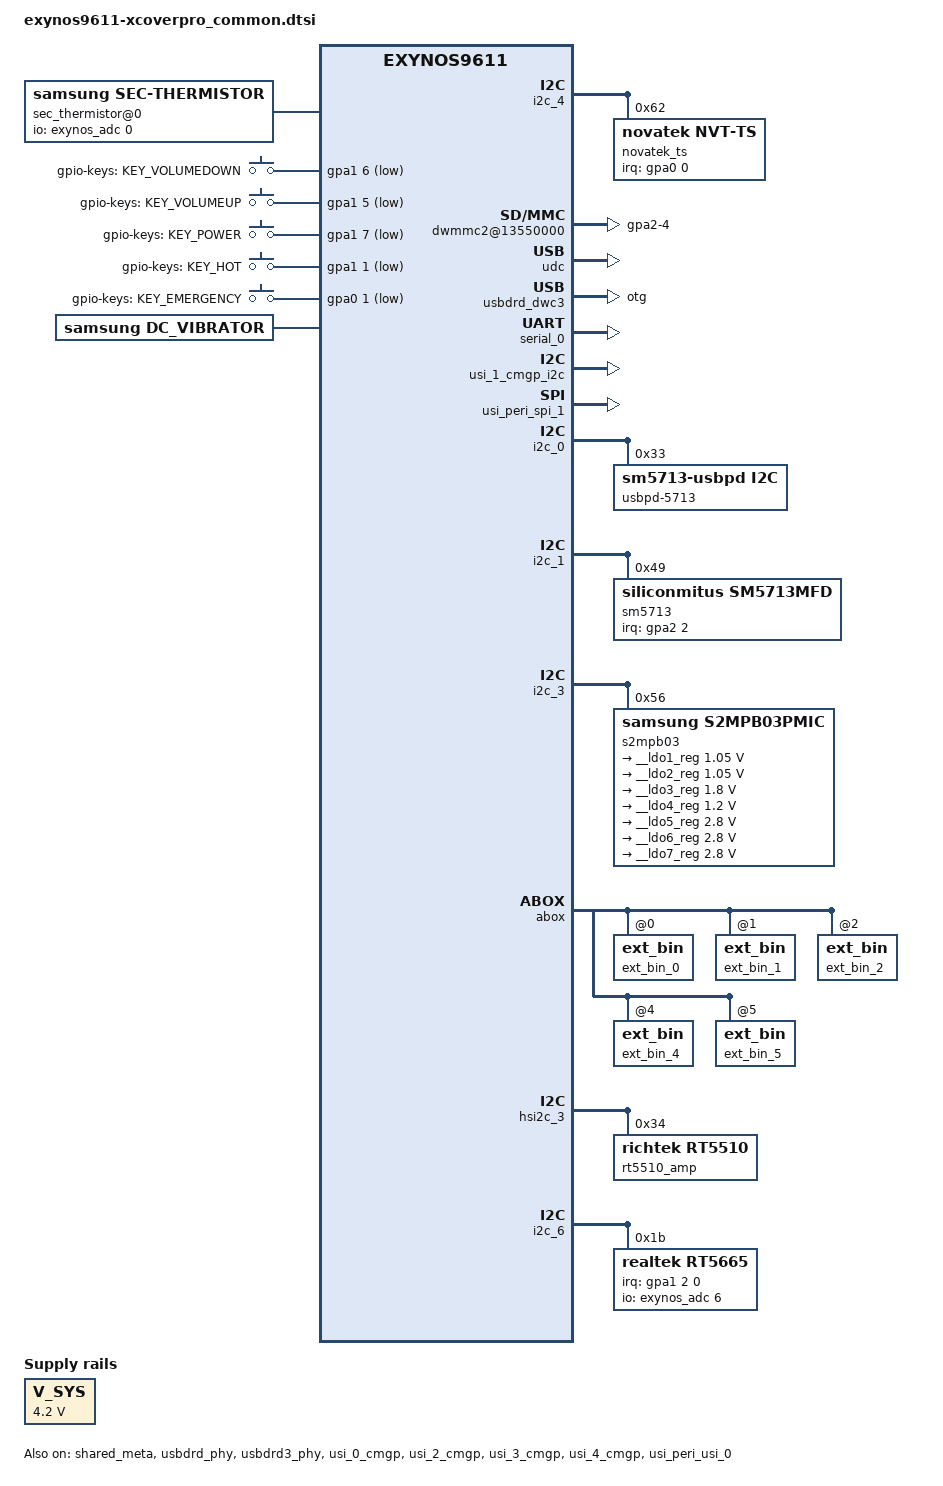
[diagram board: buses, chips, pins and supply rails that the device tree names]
/*
 * SAMSUNG EXYNOS9610 board device tree source
 *
 * Copyright (c) 2018 Samsung Electronics Co., Ltd.
 *		http://www.samsung.com
 *
 * This program is free software; you can redistribute it and/or modify
 * it under the terms of the GNU General Public License version 2 as
 * published by the Free Software Foundation.
 */

#include <dt-bindings/camera/fimc_is.h>
#include <dt-bindings/clock/exynos9610.h>
#include <dt-bindings/input/input.h>
#include "modem-s337ap-sipc-pdata.dtsi"
#include "display-lcd_xcoverpro_common.dtsi"
#include "exynos9611-xcoverpro_camera.dtsi"
#include "exynos9610-a50_mst_03.dtsi"
#include "exynos9610-inputbooster.dtsi"

/ {

	fragment@model {
		target-path = "/";
		__overlay__ {
			#address-cells = <2>;
			#size-cells = <1>;

			fixed-rate-clocks {
				oscclk {
					compatible = "samsung,exynos9610-oscclk";
					clock-frequency = <26000000>;
				};
			};

			muic {
				muic,dock_int_ap = <&gpa2 5 1>;
			};

			secgpio_dvs {
				compatible = "samsung,exynos9610-secgpio-dvs";
				status = "okay";
			};

			sec_abc {
				compatible = "samsung,sec_abc";
				status = "okay";

				gpu {
					gpu,label="GPU fault";
					gpu,threshold_count=<20>;
					gpu,threshold_time=<1200>;
				};
				aicl {
					aicl,label="battery aicl";
					aicl,threshold_count=<5>;
					aicl,threshold_time=<300>;
				};
			};

			abc_hub {
				compatible = "samsung,abc_hub";
				status = "okay";

				bootc {
					bootc,time_spec_user = <70000>; /* user binary user build */
					bootc,time_spec_eng = <90000>; /* user binary eng build */
					bootc,time_spec_fac = <60000>; /* factory binary */
				};
			};

			speedy@11a10000 {
				#address-cells = <1>;
				#size-cells = <0>;
				status = "okay";
				s2mpu09mfd@00 {
					compatible = "samsung,s2mpu09mfd";
					acpm-ipc-channel = <2>;
					i2c-speedy-address;
					s2mpu09,wakeup = "enabled";
					s2mpu09,irq-gpio = <&gpa2 0 0>;
					reg = <0x00>;
					interrupts = <2 0 0>;
					interrupt-parent = <&gpa2>;
					pinctrl-names = "default";
					pinctrl-0 = <&pmic_irq &pm_wrsti>;
					/* RTC: wtsr/smpl */
					wtsr_en = "enabled"; /* enable */
					smpl_en = "enabled"; /* enable */
					wtsr_timer_val = <3>;	/* 1000ms */
					smpl_timer_val = <4>;	/* 500ms */
					check_jigon = <0>; /* do not check jigon */
					/* RTC: If it's first boot, reset rtc to 1/1/2019 12:00:00(Tue) */
					init_time,sec = <0>;
					init_time,min = <0>;
					init_time,hour = <12>;
					init_time,mday = <1>;
					init_time,mon = <0>;
					init_time,year = <119>;
					init_time,wday = <2>;

					regulators {
						b1_reg: BUCK1 {
							regulator-name = "vdd_mif";
							regulator-min-microvolt = <500000>;
							regulator-max-microvolt = <1100000>;
							regulator-always-on;
							regulator-ramp-delay = <12000>;
							regulator-initial-mode = <2>;
						};

						b2_reg: BUCK2 {
							regulator-name = "vdd_cpucl1";
							regulator-min-microvolt = <500000>;
							regulator-max-microvolt = <1300000>;
							regulator-always-on;
							regulator-ramp-delay = <12000>;
							regulator-initial-mode = <1>;
						};

						b3_reg: BUCK3 {
							regulator-name = "vdd_cpucl0";
							regulator-min-microvolt = <500000>;
							regulator-max-microvolt = <1300000>;
							regulator-always-on;
							regulator-ramp-delay = <12000>;
							regulator-initial-mode = <1>;
						};

						b4_reg: BUCK4{
							regulator-name = "vdd_int";
							regulator-min-microvolt = <500000>;
							regulator-max-microvolt = <1100000>;
							regulator-always-on;
							regulator-ramp-delay = <12000>;
							regulator-initial-mode = <2>;
						};

						b5_reg: BUCK5 {
							regulator-name = "vdd_g3d";
							regulator-min-microvolt = <500000>;
							regulator-max-microvolt = <1200000>;
							regulator-always-on;
							regulator-ramp-delay = <12000>;
							regulator-initial-mode = <2>;
						};

						b6_reg: BUCK6 {
							regulator-name = "vdd_cam_vipx";
							regulator-min-microvolt = <500000>;
							regulator-max-microvolt = <1300000>;
							regulator-always-on;
							regulator-ramp-delay = <12000>;
							regulator-initial-mode = <2>;
						};

						b7_reg: BUCK7 {
							regulator-name = "vdd2_mem";
							regulator-min-microvolt = <500000>;
							regulator-max-microvolt = <1300000>;
							regulator-always-on;
							regulator-ramp-delay = <12000>;
							regulator-initial-mode = <3>;
						};

						b8_reg: BUCK8 {
							regulator-name = "vdd_lldo";
							regulator-min-microvolt = <1200000>;
							regulator-max-microvolt = <1500000>;
							regulator-always-on;
							regulator-ramp-delay = <12000>;
							regulator-initial-mode = <3>;
						};

						b9_reg: BUCK9 {
							regulator-name = "vdd_mldo";
							regulator-min-microvolt = <1800000>;
							regulator-max-microvolt = <2100000>;
							regulator-always-on;
							regulator-ramp-delay = <12000>;
							regulator-initial-mode = <3>;
						};

						l1_reg: LDO1 {
							regulator-name = "vdd_ldo1";
							regulator-min-microvolt = <700000>;
							regulator-max-microvolt = <1300000>;
							regulator-always-on;
							regulator-ramp-delay = <12000>;
							regulator-initial-mode = <3>;
						};

						l2_reg: LDO2 {
							regulator-name = "vqmmc";
							regulator-min-microvolt = <1800000>;
							regulator-max-microvolt = <3375000>;
							regulator-ramp-delay = <12000>;
						};

						l3_reg: LDO3 {
							regulator-name = "vdd_ldo3";
							regulator-min-microvolt = <800000>;
							regulator-max-microvolt = <1950000>;
							regulator-always-on;
							regulator-ramp-delay = <12000>;
							regulator-initial-mode = <3>;
						};

						l4_reg: LDO4 {
							regulator-name = "vdd_ldo4";
							regulator-min-microvolt = <500000>;
							regulator-max-microvolt = <1100000>;
							regulator-always-on;
							regulator-ramp-delay = <12000>;
							regulator-initial-mode = <1>;
						};

						l5_reg: LDO5 {
							regulator-name = "vdd_ldo5";
							regulator-min-microvolt = <800000>;
							regulator-max-microvolt = <1300000>;
							regulator-always-on;
							regulator-ramp-delay = <12000>;
							regulator-initial-mode = <1>;
						};

						l6_reg: LDO6 {
							regulator-name = "vdd_ldo6";
							regulator-min-microvolt = <800000>;
							regulator-max-microvolt = <1300000>;
							regulator-always-on;
							regulator-ramp-delay = <12000>;
							regulator-initial-mode = <1>;
						};

						l7_reg: LDO7 {
							regulator-name = "vdd_ldo7";
							regulator-min-microvolt = <800000>;
							regulator-max-microvolt = <1950000>;
							regulator-always-on;
							regulator-ramp-delay = <12000>;
							regulator-initial-mode = <1>;
						};

						l8_reg: LDO8 {
							regulator-name = "vdd_ldo8";
							regulator-min-microvolt = <500000>;
							regulator-max-microvolt = <1300000>;
							regulator-always-on;
							regulator-ramp-delay = <12000>;
							regulator-initial-mode = <1>;
						};

						l9_reg: LDO9 {
							regulator-name = "vdd_ldo9";
							regulator-min-microvolt = <500000>;
							regulator-max-microvolt = <1300000>;
							regulator-always-on;
							regulator-ramp-delay = <12000>;
							regulator-initial-mode = <1>;
						};

						l10_reg: LDO10 {
							regulator-name = "vdd_ldo10";
							regulator-min-microvolt = <500000>;
							regulator-max-microvolt = <1300000>;
							regulator-always-on;
							regulator-ramp-delay = <12000>;
							regulator-initial-mode = <1>;
						};

						l11_reg: LDO11 {
							regulator-name = "vdd_ldo11";
							regulator-min-microvolt = <500000>;
							regulator-max-microvolt = <1300000>;
							regulator-always-on;
							regulator-ramp-delay = <12000>;
							regulator-initial-mode = <3>;
						};

						l12_reg: LDO12 {
							regulator-name = "vdd_ldo12";
							regulator-min-microvolt = <800000>;
							regulator-max-microvolt = <1300000>;
							regulator-ramp-delay = <12000>;
							regulator-initial-mode = <3>;
						};

						l13_reg: LDO13 {
							regulator-name = "vdd_ldo13";
							regulator-min-microvolt = <800000>;
							regulator-max-microvolt = <1950000>;
							regulator-ramp-delay = <12000>;
							regulator-initial-mode = <3>;
						};

						l14_reg: LDO14 {
							regulator-name = "vdd_ldo14";
							regulator-min-microvolt = <1800000>;
							regulator-max-microvolt = <3375000>;
							regulator-ramp-delay = <12000>;
							regulator-initial-mode = <3>;
						};

						l33_reg: LDO33 {
							regulator-name = "vdd_ldo33";
							regulator-min-microvolt = <1800000>;
							regulator-max-microvolt = <1800000>;
							regulator-initial-mode = <3>;
						};

						l34_reg: LDO34 {
							regulator-name = "vdd_ldo34";
							regulator-min-microvolt = <1800000>;
							regulator-max-microvolt = <3375000>;
							regulator-ramp-delay = <12000>;
						};

						l35_reg: LDO35 {
							regulator-name = "vmmc";
							regulator-min-microvolt = <1800000>;
							regulator-max-microvolt = <3375000>;
							regulator-ramp-delay = <12000>;
						};

						l36_reg: LDO36 {
							regulator-name = "vdd_ldo36";
							regulator-min-microvolt = <500000>;
							regulator-max-microvolt = <1300000>;
							regulator-always-on;
							regulator-ramp-delay = <12000>;
							regulator-initial-mode = <1>;
						};

						l37_reg: LDO37 {
							regulator-name = "vdd_ldo37";
							regulator-min-microvolt = <2800000>;
							regulator-max-microvolt = <2800000>;
							regulator-ramp-delay = <12000>;
						};

						l38_reg: LDO38 {
							regulator-name = "VDD_BTP_3P3";
							regulator-min-microvolt = <3300000>;
							regulator-max-microvolt = <3300000>;
							regulator-ramp-delay = <12000>;
						};

						l39_reg: LDO39 {
							regulator-name = "vdd_ldo39";
							regulator-min-microvolt = <1800000>;
							regulator-max-microvolt = <1800000>;
							regulator-always-on;
							regulator-initial-mode = <3>;
						};

						l40_reg: LDO40 {
							regulator-name = "regulator_3v3";
							regulator-min-microvolt = <3300000>;
							regulator-max-microvolt = <3300000>;
							regulator-initial-mode = <3>;
							regulator-boot-on;
						};

						l41_reg: LDO41 {
							regulator-name = "vdd_ldo41";
							regulator-min-microvolt = <1800000>;
							regulator-max-microvolt = <3375000>;
							regulator-ramp-delay = <12000>;
						};

						l42_reg: LDO42 {
							regulator-name = "regulator_1v8";
							regulator-min-microvolt = <1800000>;
							regulator-max-microvolt = <1800000>;
							regulator-ramp-delay = <12000>;
							regulator-initial-mode = <3>;
							regulator-boot-on;
						};

						l43_reg: LDO43 {
							regulator-name = "vdd_ldo43";
							regulator-min-microvolt = <500000>;
							regulator-max-microvolt = <1300000>;
							regulator-always-on;
							regulator-ramp-delay = <12000>;
							regulator-initial-mode = <1>;
						};

						l44_reg: LDO44 {
							regulator-name = "vdd_ldo44";
							regulator-min-microvolt = <1200000>;
							regulator-max-microvolt = <1200000>;
							regulator-ramp-delay = <12000>;
						};
					};
				};
			};

			sec_thermistor@0 {
				compatible = "samsung,sec-thermistor";
				status = "okay";
				thermistor_name = "sec-ap-thermistor";
				id = <0>;

				adc_array = <275 324 407 544 637 720 868 1003 1161
					1339 1506 1789 1959 2175 2364 2563 2829 2984
					3115 3224 3336 3410>;
				temp_array = <900 850 800 700 650 600 550 500 450
					  400 350 300 250 200 150 100 50 0
					  (-50) (-100) (-150) (-200)>;

				io-channels = <&exynos_adc 0>;
				io-channel-names = "adc-ap-temp";
				io-channel-ranges;
			};

			exynos_rgt {
				compatible = "samsung,exynos-rgt";
			};

			mailbox_cp: mcu_ipc@11920000 {
				compatible = "samsung,exynos-shd-ipc-mailbox";
				reg = <0x0 0x11920000 0x180>;
				mcu,name = "mcu_ipc_cp";
				mcu,id = <0>;
				interrupts = <0 40 0 >;
				mcu,irq_affinity_mask = <3>;
			};

			mif_pdata {
				/* GPIOs for HW REV */
				/* XGPIO27-AP_REV0, XGPIO28-AP_REV1, XGPIO29-AP_REV2 */
				gpios = <&gpg3 3 0>, <&gpg3 4 0>, <&gpg3 5 0>;
				pinctrl-names = "default";
			};

			mailbox_gnss: mcu_ipc@11A00000 {
				compatible = "samsung,exynos-shd-ipc-mailbox";
				reg = <0x0 0x11A00000 0x180>;
				mcu,name = "mcu_ipc_gnss";
				mcu,id = <1>;
				interrupts = <0 43 0>; /* INTREQ__MAILBOX_GNSS2AP */
			};

			gnss_pdata {
				status = "okay";

				compatible = "samsung,gnss_shdmem_if";
				shmem,name = "KEPLER";
				shmem,device_node_name = "gnss_ipc";

				/* INTREQ__ALIVE_GNSS_ACTIVE, INTREQ__GNSS2AP_WDOG_RESET, INTREQ__GNSS2AP_WAKEUP, INTREQ__GNSS2AP */
				interrupts = <0 27 0>, <0 81 0>, <0 80 0>, <0 79 0>;
				interrupt-names = "ACTIVE", "WATCHDOG", "WAKEUP", "REQ_INIT";

				memory-region = <&gnss_reserved>;
				mbox_info = <&mailbox_gnss>;

				mbx,int_ap2gnss_bcmd = <0>;
				mbx,int_ap2gnss_req_fault_info = <1>;
				mbx,int_ap2gnss_ipc_msg = <2>;
				mbx,int_ap2gnss_ack_wake_set = <3>;
				mbx,int_ap2gnss_ack_wake_clr = <4>;

				mbx,irq_gnss2ap_bcmd = <0>;
				mbx,irq_gnss2ap_rsp_fault_info = <1>;
				mbx,irq_gnss2ap_ipc_msg = <2>;
				mbx,irq_gnss2ap_req_wake_clr = <4>;

				mbx,reg_bcmd_ctrl = <0>, <1>, <2>, <3>;

				reg_rx_ipc_msg = <1 5>;
				reg_tx_ipc_msg = <1 4>;
				reg_rx_head = <1 3>;
				reg_rx_tail = <1 2>;
				reg_tx_head = <1 1>;
				reg_tx_tail = <1 0>;
				fault_info = <1 0x200000 0x180000>;

				shmem,ipc_offset = <0x380000>;
				shmem,ipc_size = <0x80000>;
				shmem,ipc_reg_cnt = <32>;
			};

			gpio_keys {
				#address-cells = <1>;
				#size-cells = <0>;
				compatible = "gpio-keys";
				status = "okay";
				pinctrl-names = "default";
				pinctrl-0 = <&key_voldown &key_volup &key_power &key_hot &key_emergency>;
				button@1 {
					label = "gpio-keys: KEY_VOLUMEDOWN";
					linux,code = <114>;
					gpios = <&gpa1 6 0xf>;
				};
				button@2 {
					label = "gpio-keys: KEY_VOLUMEUP";
					linux,code = <115>;
					gpios = <&gpa1 5 0xf>;
				};
				button@3 {
					label = "gpio-keys: KEY_POWER";
					linux,code = <116>;
					gpios = <&gpa1 7 0xf>;
					gpio-key,wakeup = <1>;
				};
				button@4 {
					label = "gpio-keys: KEY_HOT";	/* PTT Key */
					linux,code = <KEY_HOT>;
					gpios = <&gpa1 1 0xf>;
					gpio-key,wakeup = <1>;
				};
				button@5 {
					label = "gpio-keys: KEY_EMERGENCY";	/* Top Key */
					linux,code = <KEY_EMERGENCY>;
					gpios = <&gpa0 1 0xf>;
					gpio-key,wakeup = <1>;
				};
			};

			i2c_4:i2c@13870000 {
				status = "okay";
				samsung,i2c-sda-delay = <100>;
				samsung,i2c-max-bus-freq = <400000>;
				samsung,reset-before-trans;
				compatible = "samsung,s3c2440-i2c-polling";
				#address-cells = <1>;
				#size-cells = <0>;
				novatek_ts: touchscreen@62 {
					compatible = "novatek,nvt-ts";
					reg = <0x62>;
					pinctrl-names = "default";
					pinctrl-0 = <&attn_irq>;
					novatek,firmware_name = "tsp_novatek/nt36672a_xcoverpro.fw";
					novatek,firmware_name_new_ic = "tsp_novatek/nt36672a_xcoverpro_4BF245.fw";
					novatek,irq-gpio = <&gpa0 0 0x2002>;
					novatek,resolution = <1080 2340>; /* x y */
					novatek,max_touch_num = <10>;
					novatek,area-size = <133 266 341>; /* indicator: 24dp navigator: 48dp edge: 60px dpi=320 */
					//novatek,ss_touch_num = <1>;
					novatek,mp-support-dt;
					check_fw_project_id;
					support_dual_fw;

					novatek-mp-criteria-7207@0 {
						#address-cells = <1>;
						#size-cells = <0>;
						compatible = "novatek-mp-criteria-7207";

						/* MP Criteria */
						open_test_spec = <0 3650>;
						short_test_spec = <11380 14000>;

						diff_test_frame = <50>;
						};

					novatek-mp-criteria-7229@0 {
						#address-cells = <1>;
						#size-cells = <0>;
						compatible = "novatek-mp-criteria-7229";

						/* MP Criteria */
						open_test_spec = <0 5120>;
						short_test_spec = <10000 14008>;

						diff_test_frame = <50>;
						};
					};
			};

			usb_notifier {
				compatible = "samsung,usb-notifier";
				udc = <&udc>;
				disable_host_wakelock;
			};

			V_SYS: fixedregulator@1 {
				compatible = "regulator-fixed";
				regulator-name = "V_SYS";
				regulator-min-microvolt = <4200000>;
				regulator-max-microvolt = <4200000>;
				regulator-boot-on;
				regulator-always-on;
			};

			dwmmc2@13550000 {
				status = "okay";
				num-slots = <1>;
				supports-4bit;
				supports-cmd23;
				supports-erase;
				supports-highspeed;
				sd-uhs-sdr50;
				sd-uhs-sdr104;
				card-detect-gpio;
				bypass-for-allpass;
				card-init-hwacg-ctrl;
				skip-init-mmc-scan;
				qos-dvfs-int-level = <533000>;
				qos-dvfs-mif-level = <676000>;
				fifo-depth = <0x40>;
				desc-size = <4>;
				card-detect-delay = <200>;
				data-timeout = <200>;
				hto-timeout = <80>;
				samsung,dw-mshc-ciu-div = <3>;
				clock-frequency = <800000000>;
				ssc-rate = <3>;
				samsung,dw-mshc-sdr-timing = <3 0 2 0>;
				samsung,dw-mshc-ddr-timing = <3 0 2 1>;
				samsung,dw-mshc-sdr50-timing = <3 0 4 2>;
				samsung,dw-mshc-sdr104-timing = <3 0 3 0>;

				num-ref-clks = <9>;
				ciu_clkin = <25 50 50 25 50 100 200 50 50>;

				/* Swapping clock drive strength */
				clk-drive-number = <4>;
				pinctrl-names = "default",
					"fast-slew-rate-1x",
					"fast-slew-rate-2x",
					"fast-slew-rate-3x",
					"fast-slew-rate-4x";
				pinctrl-0 = <&sd2_clk &sd2_cmd &sd2_bus1 &sd2_bus4 &dwmmc2_cd_ext_irq>;
				pinctrl-1 = <&sd2_clk_fast_slew_rate_1x>;
				pinctrl-2 = <&sd2_clk_fast_slew_rate_2x>;
				pinctrl-3 = <&sd2_clk_fast_slew_rate_3x>;
				pinctrl-4 = <&sd2_clk_fast_slew_rate_4x>;

				card-detect = <&gpa2 4 0xf>;
				sec-sd-slot-type = <1>; /* Hot plug slot */
				#address-cells = <1>;
				#size-cells = <0>;

				slot@0 {
					reg = <0>;
					bus-width = <4>;
					disable-wp;
				};
			};

			usb_hs_tune:usb_hs_tune {
				hs_tune_cnt = <12>;

				/* value = <device host> */
				hs_tune1 {
					tune_name = "tx_vref";
					tune_value = <0xf 0xa>;
				};

				hs_tune2 {
					tune_name = "tx_pre_emp";
					tune_value = <0x3 0x3>;
				};

				hs_tune3 {
					tune_name = "tx_pre_emp_plus";
					tune_value = <0x0 0x0>;
				};

				hs_tune4 {
					tune_name = "tx_res";
					tune_value = <0x3 0x3>;
				};

				hs_tune5 {
					tune_name = "tx_rise";
					tune_value = <0x3 0x3>;
				};

				hs_tune6 {
					tune_name = "tx_hsxv";
					tune_value = <0x3 0x3>;
				};

				hs_tune7 {
					tune_name = "tx_fsls";
					tune_value = <0x3 0x3>;
				};

				hs_tune8 {
					tune_name = "rx_sqrx";
					tune_value = <0x7 0x7>;
				};

				hs_tune9 {
					tune_name = "compdis";
					tune_value = <0x7 0x7>;
				};

				hs_tune10 {
					tune_name = "otg";
					tune_value = <0x2 0x2>;
				};

				hs_tune11 {
				/* true : 1, false: 0 */
				/* <enable_user_imp user_imp_value> */
					tune_name = "enable_user_imp";
					tune_value = <0x0 0x0>;
				};

				hs_tune12 {
				/* PHY clk : 1 , FREE clk : 0 */
					tune_name = "is_phyclock";
					tune_value = <0x1 0x1>;
				};
			};

			/* Secure RPMB */
			ufs-srpmb {
				compatible = "samsung,ufs-srpmb";
				interrupts = <0 460 0>;
			};

			usb3_ss_tune:usb3_ss_tune {
				ss_tune_cnt = <15>;

				/* value = <device host> */
				ss_tune1 {
					tune_name = "tx0_term_offset";
					tune_value = <0x0 0x0>;
				};

				ss_tune2 {
					tune_name = "pcs_tx_swing_full";
					tune_value = <0x7f 0x7f>;
				};

				ss_tune3 {
					tune_name = "pcs_tx_deemph_6db";
					tune_value = <0x1c 0x1c>;
				};

				ss_tune4 {
					tune_name = "pcs_tx_deemph_3p5db";
					tune_value = <0x1c 0x1c>;
				};

				ss_tune5 {
					tune_name = "tx_vboost_lvl_sstx";
					tune_value = <0x7 0x7>;
				};

				ss_tune6 {
					tune_name = "tx_vboost_lvl";
					tune_value = <0x4 0x4>;
				};

				ss_tune7 {
					tune_name = "los_level";
					tune_value = <0x9 0x9>;
				};

				ss_tune8 {
					tune_name = "los_bias";
					tune_value = <0x5 0x5>;
				};

				ss_tune9 {
					tune_name = "pcs_rx_los_mask_val";
					tune_value = <0x104 0x104>;
				};

				ss_tune10 {
					tune_name = "tx_eye_height_cntl_en";
					tune_value = <0x1 0x1>;
				};

				ss_tune11 {
					tune_name = "pipe_tx_deemph_update_delay";
					tune_value = <0x2 0x2>;
				};

				ss_tune12 {
					tune_name = "pcs_tx_swing_full_sstx";
					tune_value = <0x7f 0x7f>;
				};
				ss_tune13 {
					tune_name = "rx_eq_fix_val";
					tune_value = <0x2 0x2>;
				};

				ss_tune14 {
					tune_name = "rx_decode_mode";
					tune_value = <0x1 0x1>;
				};

				ss_tune15 {
					tune_name = "decrese_ss_tx_imp";
					tune_value = <0x1 0x1>;
				};
			};

			usb3_hs_tune:usb3_hs_tune {
				hs_tune_cnt = <10>;

				/* value = <device host> */
				hs_tune1 {
					tune_name = "tx_pre_emp";
					tune_value = <0x3 0x3>;
				};

				hs_tune2 {
					tune_name = "tx_pre_emp_plus";
					tune_value = <0x0 0x0>;
				};

				hs_tune3 {
					tune_name = "tx_vref";
					tune_value = <0x7 0x7>;
				};

				hs_tune4 {
					tune_name = "rx_sqrx";
					tune_value = <0x7 0x7>;
				};

				hs_tune5 {
					tune_name = "tx_rise";
					tune_value = <0x3 0x3>;
				};

				hs_tune6 {
					tune_name = "compdis";
					tune_value = <0x7 0x7>;
				};

				hs_tune7 {
					tune_name = "tx_hsxv";
					tune_value = <0x3 0x3>;
				};

				hs_tune8 {
					tune_name = "tx_fsls";
					tune_value = <0x3 0x3>;
				};

				hs_tune9 {
					tune_name = "tx_res";
					tune_value = <0x3 0x3>;
				};

				hs_tune10 {
					tune_name = "utim_clk";
					tune_value = <0x1 0x1>;
				};
			};

			nad_balancer {
				compatible = "samsung,sec_nad_balancer";
				status = "okay";

				nad_balancer,timeout = <400>;

				qos {
					cl0 {
						qos,label="LIT";
						qos,delay_time=<10>;
						qos,table_size=<13>;
						qos,table=<1742000 1638000 1534000 1456000 1326000 1222000 1118000 1053000 910000
								806000 702000 598000 403000>;
					};

					cl1 {
						qos,label="BIG";
						qos,delay_time=<10>;
						qos,table_size=<15>;
						qos,table=<2314000 2210000 2184000 2080000 1976000 1898000 1768000 1664000 1508000
								1456000 1352000 1248000 1144000 1040000 936000>;
					};

					mif {
						qos,label="MIF";
						qos,delay_time=<10>;
						qos,table_size=<10>;
						qos,table=<2093000 2002000 1794000 1539000 13352000 1014000 845000 676000 546000 419000>;
					};
				};

				sleep {
					/* per msec */
					sleep,suspend_threshold = <1000>;
					sleep,resume_threshold = <1000>;
				};
			};

			argos {
				compatible = "samsung,argos";
				#address-cells = <1>;
				/*  The device number should be assigned for each device, e.g. "boot_device@1" and "boot_device@2".
				 * Duplicated number is not allowed. Please refer the below example.
				 */

				/* Table Format
				 * threshold : throughput threshold(Mbps)
				 * big_min : Big Core's minimum frequency lock. 0 means not set,
				 * big_max : Big Core's maximum frequency lock. 0 means not set,
				 * lit_min : Little Core's minimum frequency lock. 0 means not set,
				 * lit_max : Little Core's maximum frequency lock. 0 means not set,
				 * mif : MIF frequency lock. 0 means not set,
				 * int : INT frequency lock. 0 means not set,
				 * task_affinity : "enable" - Set task affinity lock.
				 *	           "disable" - Not set or unlock,
				 *		   Task affinity should be predefined driver's code.
				 * irq_affinity : "enable" - Set irq affinity lock.
				 *                "disable" - Not set or unlock,
				 *		  IRQ affinity should be predefined driver's code.
				 * hmp_boot : "enable" - Increase hmp boosting count
				 *            "disable" - Decrease hmp boosting count
				 */

				boot_device@1 {
					net_boost,label="IPC";
					net_boost,node="rmnet0 rmnet1 rmnet2 rmnet3 rmnet4 rmnet5 rmnet6 rmnet7 umts_dm0";
					net_boost,table {
						level_0 {
							threshold = <50>; /* Mbps */
							lit_min = <910000>;
							mif = <845000>;
						};
						level_1 {
							threshold = <100>; /* Mbps */
							lit_min = <1326000>;
							mif = <1014000>;
						};
						level_2 {
							threshold = <200>; /* Mbps */
							lit_min = <1534000>;
							mif = <1352000>;
						};
						level_3 {
							threshold = <300>; /* Mbps */
							big_min = <1664000>;
							lit_min = <1456000>;
							mif = <1539000>;
						};
					};
				};

				boot_device@2 {
					net_boost,label="CLAT";
					net_boost,node="clat clat4 v4-rmnet0 v4-rmnet1 v4-rmnet2 v4-rmnet3 v4-rmnet4 v4-rmnet5 v4-rmnet6 v4-rmnet7";
					net_boost,table {
						level_0 {
							threshold = <100>; /* Mbps */
							big_min = <1040000>;
							mif = <1014000>;
						};
						level_1 {
							threshold = <150>; /* Mbps */
							big_min = <1248000>;
							mif = <1352000>;
						};
						level_2 {
							threshold = <200>; /* Mbps */
							big_min = <1456000>;
							mif = <2093000>;
						};
					};
				};

				boot_device@3 {
					net_boost,label="USB";
					net_boost,node="rndis0";
					net_boost,table {
						level_0 {
							threshold = <0>; /* Mbps */
							irq_affinity = "enable";
						};
					};
				};
			};

			dc_vibrator {
				compatible = "samsung,dc_vibrator";
				status = "okay";
				pinctrl-names = "default";
				pinctrl-0 = <&motor_en>;
				dc_vib,gpio_en = <&gpa2 1 0>;
				dc_vib,motor_type = "COINDC";
			};

			sm5713_rgb {
				rgb-name = "led_r", "led_g", "led_b", "led_w";

				normal_powermode_current = <10>;
				low_powermode_current = <10>;
				br_ratio_r = <50>;
				br_ratio_g = <10>;
				br_ratio_b = <30>;
				br_ratio_low_r = <50>;
				br_ratio_low_g = <10>;
				br_ratio_low_b = <30>;
			};

			dummy_audio_codec: audio_codec_dummy {
				status = "okay";
				compatible = "snd-soc-dummy";
			};

			dummy_audio_cpu: audio_cpu_dummy {
				compatible = "samsung,dummy-cpu";
				status = "okay";
			};

			sound {
				status = "okay";
				compatible = "samsung,exynos9610-audio";

				clock-names = "xclkout";
				clocks = <&clock OSC_AUD>;
				pinctrl-names = "default";
				pinctrl-0 = <&xclkout0>;

				samsung,routing =
					"HEADSETMIC", "MICBIAS1",
					"MAINMIC", "MICBIAS2",
					"SUBMIC", "MICBIAS3",
					"IN1P", "HEADSETMIC",
					"IN1N", "HEADSETMIC",
					"IN3P", "MAINMIC",
					"IN3N", "MAINMIC",
					"IN4P", "SUBMIC",
					"IN4N", "SUBMIC",
					"RECEIVER", "MONOOUT",
					"RECEIVER", "MONOOUT",
					"HEADPHONE", "HPOL",
					"HEADPHONE", "HPOR",
					"VOUTPUT", "ABOX UAIF0 Playback",
					"SPEAKER", "ABOX UAIF2 Playback",
					"VOUTPUTCALL", "ABOX SIFS0 Playback",
					"BLUETOOTH SPK", "ABOX SIFS2 Playback",
					"ABOX SPDY Capture", "FM IN",
					"ABOX SIFS2 Capture", "BLUETOOTH MIC",
					"ABOX SIFS0 Capture", "VINPUTCALL";

				samsung,codec = <&abox &abox_uaif_0 &abox_uaif_1 &abox_uaif_2
					&abox_uaif_4 &abox_dsif &abox_spdy>;
				samsung,prefix = "ABOX", "ABOX", "ABOX", "ABOX",
					"ABOX", "ABOX", "ABOX";
				samsung,aux = <&abox_effect &abox_bt>;

				rdma@0 {
					cpu {
						sound-dai = <&abox 0>;
					};
					platform {
						sound-dai = <&abox_rdma_0>;
					};
					codec {
						sound-dai = <&dummy_audio_codec>;
					};
				};
				rdma@1 {
					cpu {
						sound-dai = <&abox 1>;
					};
					platform {
						sound-dai = <&abox_rdma_1>;
					};
					codec {
						sound-dai = <&dummy_audio_codec>;
					};
				};
				rdma@2 {
					cpu {
						sound-dai = <&abox 2>;
					};
					platform {
						sound-dai = <&abox_rdma_2>;
					};
					codec {
						sound-dai = <&dummy_audio_codec>;
					};
				};
				rdma@3 {
					cpu {
						sound-dai = <&abox 3>;
					};
					platform {
						sound-dai = <&abox_rdma_3>;
					};
					codec {
						sound-dai = <&dummy_audio_codec>;
					};
				};
				rdma@4 {
					cpu {
						sound-dai = <&abox 4>;
					};
					platform {
						sound-dai = <&abox_rdma_4>;
					};
					codec {
						sound-dai = <&dummy_audio_codec>;
					};
				};
				rdma@5 {
					cpu {
						sound-dai = <&abox 5>;
					};
					platform {
						sound-dai = <&abox_rdma_5>;
					};
					codec {
						sound-dai = <&dummy_audio_codec>;
					};
				};
				rdma@6 {
					cpu {
						sound-dai = <&abox 6>;
					};
					platform {
						sound-dai = <&abox_rdma_6>;
					};
					codec {
						sound-dai = <&dummy_audio_codec>;
					};
				};
				rdma@7 {
					cpu {
						sound-dai = <&abox 7>;
					};
					platform {
						sound-dai = <&abox_rdma_7>;
					};
					codec {
						sound-dai = <&dummy_audio_codec>;
					};
				};
				wdma@0 {
					cpu {
						sound-dai = <&abox 8>;
					};
					platform {
						sound-dai = <&abox_wdma_0>;
					};
					codec {
						sound-dai = <&dummy_audio_codec>;
					};
				};
				wdma@1 {
					cpu {
						sound-dai = <&abox 9>;
					};
					platform {
						sound-dai = <&abox_wdma_1>;
					};
					codec {
						sound-dai = <&dummy_audio_codec>;
					};
				};
				wdma@2 {
					cpu {
						sound-dai = <&abox 10>;
					};
					platform {
						sound-dai = <&abox_wdma_2>;
					};
					codec {
						sound-dai = <&dummy_audio_codec>;
					};
				};
				wdma@3 {
					cpu {
						sound-dai = <&abox 11>;
					};
					platform {
						sound-dai = <&abox_wdma_3>;
					};
					codec {
						sound-dai = <&dummy_audio_codec>;
					};
				};
				wdma@4 {
					cpu {
						sound-dai = <&abox 12>;
					};
					platform {
						sound-dai = <&abox_wdma_4>;
					};
					codec {
						sound-dai = <&dummy_audio_codec>;
					};
				};
		/** ToDo: enable dp_audio link after enabling DP Audio
		 *		dp_audio@0 {
		 *			cpu {
		 *				sound-dai = <&dummy_audio_cpu>;
		 *			};
		 *			codec {
		 *				sound-dai = <&dummy_audio_codec>;
		 *			};
		 *		};
		 */
				uaif@0 {
					format = "i2s";
					cpu {
						sound-dai = <&abox_uaif_0>;
					};
					codec {
						sound-dai = <&rt5665 0>;
					};
				};
				uaif@1 {
					format = "i2s";
					cpu {
						sound-dai = <&abox_uaif_1>;
					};
					codec {
						sound-dai = <&dummy_audio_codec>;
					};
				};
				uaif@2 {
					format = "i2s";
					cpu {
						sound-dai = <&abox_uaif_2>;
					};
					platform {
						sound-dai = <&abox_synchronized_ipc 0>;
					};
					codec {
						sound-dai = <&rt5510_amp 0>;
					};
				};
				uaif@4 {
					format = "i2s";
					bitclock-master;
					frame-master;
					cpu {
						sound-dai = <&abox_uaif_4>;
					};
					codec {
						sound-dai = <&dummy_audio_codec>;
					};
				};
				dsif@0 {
					format = "pdm";
					cpu {
						sound-dai = <&abox_dsif>;
					};
					codec {
						sound-dai = <&dummy_audio_codec>;
					};
				};
				spdy@0 {
					cpu {
						sound-dai = <&abox_spdy>;
					};
					codec {
						sound-dai = <&dummy_audio_codec>;
					};
				};
				sifs0@0 {
					cpu {
						sound-dai = <&abox 13>;
					};
					codec {
						sound-dai = <&dummy_audio_codec>;
					};
				};
				sifs1@0 {
					cpu {
						sound-dai = <&abox 14>;
					};
					codec {
						sound-dai = <&dummy_audio_codec>;
					};
				};
				sifs2@0 {
					cpu {
						sound-dai = <&abox 15>;
					};
					codec {
						sound-dai = <&dummy_audio_codec>;
					};
				};
			};
		};
	};
};

&shared_meta {
	status = "okay";
	parts = "vbmeta,boot,system,vendor,product,odm,prism,optics,vbmeta_samsung,recovery,dtbo,keystorage";
};

&android_q_fstab {
	status = "disabled";
};

&udc {
	status = "okay";
	dwc3 {
		dr_mode = "otg";
		maximum-speed = "high-speed";
	};
};

&usbdrd_dwc3 {
	dr_mode = "otg";
	maximum-speed = "high-speed";

	/* usb_audio_offloading = <1>; */
	/* abox = <&abox>; */

	ldo-names = "vdd_ldo12", "vdd_ldo13", "vdd_ldo14";
};

&usbdrd_phy {
	status = "okay";
	usb3phy-isolation = <1>;
	hs_tune_param = <&usb_hs_tune>;
};

&usbdrd3_phy {
	status = "okay";
	usb3phy-isolation = <1>;
	hs_tune_param = <&usb3_hs_tune>;
	ss_tune_param = <&usb3_ss_tune>;
};

&serial_0 {
	samsung,uart-logging;
	status = "okay";
};

&pinctrl_0 {
	key_emergency: key-emergency {
		samsung,pins = "gpa0-1";
		samsung,pin-function = <0xf>;
		samsung,pin-pud = <0>;
		samsung,pin-drv = <0>;
	};

	key_hot: key-hot {
		samsung,pins = "gpa1-1";
		samsung,pin-function = <0xf>;
		samsung,pin-pud = <0>;
		samsung,pin-drv = <0>;
	};
		
	key_voldown: key-voldown {
		samsung,pins = "gpa1-6";
		samsung,pin-function = <0xf>;
		samsung,pin-pud = <0>;
		samsung,pin-drv = <0>;
	};

	key_volup: key-volup {
		samsung,pins = "gpa1-5";
		samsung,pin-function = <0xf>;
		samsung,pin-pud = <0>;
		samsung,pin-drv = <0>;
	};

	key_power: key-power {
		samsung,pins = "gpa1-7";
		samsung,pin-function = <0xf>;
		samsung,pin-pud = <0>;
		samsung,pin-drv = <0>;
	};

	attn_irq: attn-irq {
		samsung,pins = "gpa0-0";
		samsung,pin-function = <0xf>;
		samsung,pin-pud = <0>;
		samsung,pin-drv = <0>;
	};

	attn_input: attn-input {
		samsung,pins = "gpa0-0";
		samsung,pin-function = <0>;
		samsung,pin-pud = <1>;
	};

	if_pmic_irq: if-pmic-irq {
		samsung,pins = "gpa2-2";
		samsung,pin-function = <0>;
		samsung,pin-pud = <0>;
		samsung,pin-drv = <0>;
	};

	pmic_irq: pmic-irq {
		samsung,pins = "gpa2-0";
		samsung,pin-pud = <3>;
		samsung,pin-drv = <3>;
	};

	motor_en: motor-en {
		samsung,pins = "gpa2-1";
		samsung,pin-function = <1>;
		samsung,pin-val = <0>;
		samsung,pin-pud = <0>;
		samsung,pin-con-pdn = <3>;
		samsung,pin-pud-pdn = <0>;
	};

	codec_irq: codec_irq {
		samsung,pins ="gpa1-2";
		samsung,pin-function = <0xf>;
		samsung,pin-pud = <0>;
	};

	dwmmc2_cd_ext_irq: dwmmc2_cd_ext_irq {
		samsung,pins = "gpa2-4";
		samsung,pin-function = <0xf>;
		samsung,pin-pud = <0>;
		samsung,pin-drv = <3>;
	};

	usbpd_irq: usbpd-irq {
		samsung,pins = "gpa2-3";
		samsung,pin-function = <0x0f>;
		samsung,pin-pud = <0>;
		samsung,pin-drv = <0>;
	};

	dock_int_ap: dock-int-ap {
		samsung,pins = "gpa2-5";
		samsung,pin-function = <0xf>;
		samsung,pin-pud = <0>;
		samsung,pin-drv = <0>;
	};
};

&pinctrl_4 {
/*	vdd_on: vdd-on {
		samsung,pins = "gpg3-1";
		samsung,pin-function = <1>;
		samsung,pin-val = <1>;
		samsung,pin-pud = <0>;
	};

	vdd_off: vdd-off {
		samsung,pins = "gpg3-1";
		samsung,pin-function = <0>;
		samsung,pin-val = <0>;
		samsung,pin-pud = <1>;
	};
*/
	vbus_discharging: vbus-discharging {
		samsung,pins = "gpg0-4";
		samsung,pin-function = <1>;
		samsung,pin-pud = <0>;
		samsung,pin-drv = <0>;
		samsung,pin-val	= <0>;
		samsung,pin-con-pdn = <3>;
		samsung,pin-pud-pdn = <0>;
	};

	/* Warm reset information from AP */
	pm_wrsti: pm-wrsti {
		samsung,pins = "gpg0-7";
		samsung,pin-con-pdn = <3>;
	};
};

&fmp_0 {
	 exynos,block-type = "sda";
	 exynos,fips-block_offset = <5>;
};

/* USI_0_SHUB */
&usi_0_shub {
	status = "disabled";
};

/* USI_SHUB_0_I2C */
&usi_0_shub_i2c {
	/*	usi_v2_mode = "i2c" or "spi" or "uart"	*/
	status = "disabled";
};

/* USI_0_CMGP */
&usi_0_cmgp {
	/*	usi_v2_mode = "i2c" or "spi" or "uart"	*/
	usi_v2_mode = "spi";
	status = "okay";
};

/* USI_0_CMGP_I2C */
&usi_0_cmgp_i2c {
	/*	usi_v2_mode = "i2c" or "spi" or "uart"	*/
	status = "disabled";
};

/* USI_1_CMGP */
&usi_1_cmgp {
	/*	usi_v2_mode = "i2c" or "spi" or "uart"	*/
	status = "disabled";
};

/* USI_1_CMGP_I2C */
&usi_1_cmgp_i2c {
	usi_v2_mode = "i2c";
	status = "okay";
};

/* USI_2_CMGP */
&usi_2_cmgp {
	/*	usi_v2_mode = "i2c" or "spi" or "uart"	*/
	usi_v2_mode = "i2c";
	status = "okay";
};

/* USI_2_CMGP_I2C */
&usi_2_cmgp_i2c {
	/*	usi_v2_mode = "i2c" or "spi" or "uart"	*/
	status = "disabled";
};

/* USI_3_CMGP */
&usi_3_cmgp {
	usi_v2_mode = "i2c";
	status = "okay";
};

/* USI_3_CMGP_I2C */
&usi_3_cmgp_i2c {
	/*	usi_v2_mode = "i2c" or "spi" or "uart"	*/
	status = "disabled";
};

/* USI_4_CMGP */
&usi_4_cmgp {
	usi_v2_mode = "spi";
	status = "okay";
};

/* USI_4_CMGP_I2C */
&usi_4_cmgp_i2c {
	status = "disabled";
};

/* USI_PERI_USI_0 */
&usi_peri_usi_0 {
	usi_v2_mode = "i2c";
	status = "okay";
};

/* USI_PERI_USI_0_I2C */
&usi_peri_usi_0_i2c {
	/*	usi_v2_mode = "i2c" or "spi" or "uart"	*/
	status = "disabled";
};

/* USI_PERI_SPI_1 */
&usi_peri_spi_1 {
	usi_v2_mode = "spi";
	status = "okay";
};

&chosen {
	bootargs_ext = "root=/dev/ram0 androidboot.boot_devices=13520000.ufs";
};

&i2c_0 {
	i2c-gpio,delay-us = <5>;
	status = "okay";
	samsung,glitch-filter;
	samsung,fix-doxfer-return;
	#address-cells = <1>;
	#size-cells = <0>;
	samsung,i2c-max-bus-freq = <400000>;
	usbpd-5713@33 {
		compatible = "sm5713-usbpd,i2c";
		reg = <0x33>;
		pinctrl-names = "default";
		/* vconn-en; */
		support_pd_role_swap;
		pinctrl-0 = <&usbpd_irq &vbus_discharging>;
		usbpd,usbpd_int = <&gpa2 3 0>;
		usbpd,vbus_discharging = <&gpg0 4 0>;
	};
};

&i2c_1 {
	#address-cells = <1>;
	#size-cells = <0>;
	status = "okay";
	samsung,glitch-filter;
	samsung,fix-doxfer-return;
	samsung,i2c-max-bus-freq = <400000>;
	sm5713@49{
		compatible = "siliconmitus,sm5713mfd";
		reg = <0x49>;
		pinctrl-names = "default";
		pinctrl-0 = <&chg_en &if_pmic_irq &dock_int_ap>;
		sm5713,irq-gpio = <&gpa2 2 0>;
		sm5713,wakeup;
	};
};

&i2c_3 {
	status = "okay";
	#address-cells = <1>;
	#size-cells = <0>;
	s2mpb03@56 {
		compatible = "samsung,s2mpb03pmic";
		reg = <0x56>;

		s2mpb03,wakeup;

		regulators {
			__ldo1_reg: s2mpb03-ldo1 {
				regulator-name = "CAM_VLDO1";
				regulator-min-microvolt = <1050000>;
				regulator-max-microvolt = <1050000>;
			};

			__ldo2_reg: s2mpb03-ldo2 {
				regulator-name = "CAM_VLDO2";
				regulator-min-microvolt = <1050000>;
				regulator-max-microvolt = <1050000>;
			};

			__ldo3_reg: s2mpb03-ldo3 {
				regulator-name = "CAM_VLDO3";
				regulator-min-microvolt = <1800000>;
				regulator-max-microvolt = <1800000>;
			};

			__ldo4_reg: s2mpb03-ldo4 {
				regulator-name = "CAM_VLDO4";
				regulator-min-microvolt = <1200000>;
				regulator-max-microvolt = <1200000>;
			};

			__ldo5_reg: s2mpb03-ldo5 {
				regulator-name = "CAM_VLDO5";
				regulator-min-microvolt = <2800000>;
				regulator-max-microvolt = <2800000>;
			};

			__ldo6_reg: s2mpb03-ldo6 {
				regulator-name = "CAM_VLDO6";
				regulator-min-microvolt = <2800000>;
				regulator-max-microvolt = <2800000>;
			};

			__ldo7_reg: s2mpb03-ldo7 {
				regulator-name = "CAM_VLDO7";
				regulator-min-microvolt = <2800000>;
				regulator-max-microvolt = <2800000>;
			};
		};
	};
};

&reserved_memory {
	secure_camera {
		compatible = "exynos9820-ion";
		ion,heapname = "secure_camera_heap";
		reg = <0x0 0xE1900000 0x2000000>;
		ion,secure;
		ion,protection_id = <11>;
		ion,alignment = <0x10000>;
	};
	camera_contig
	{
		compatible = "exynos9820-ion";
		ion,heapname = "camera_heap";
		reg = <0x0 0xDB900000 0x700000>;
		ion,secure;
		ion,protection_id = <10>;
	};
};

&abox {
	/delete-node/ ext_bin@0;
	ext_bin_0: ext_bin@0 {
		status = "okay";
		samsung,name = "rtdsp.bin";
		samsung,area = <1>; /* 0:SRAM, 1:DRAM, 2:VSS */
		samsung,offset = <0x502000>;
	};
	/delete-node/ ext_bin@1;
	ext_bin_1: ext_bin@1 {
		status = "okay";
		samsung,name = "AP_AUDIO_SLSI.bin";
		samsung,area = <1>;
		samsung,offset = <0x7F0000>;
	};
	/delete-node/ ext_bin@2;
	ext_bin_2: ext_bin@2 {
		status = "okay";
		samsung,name = "APBargeIn_AUDIO_SLSI.bin";
		samsung,area = <1>;
		samsung,offset = <0x7EC000>;
	};
	/delete-node/ ext_bin@4;
	ext_bin_4: ext_bin@4 {
		status = "okay";
		samsung,name = "rtdsp_param.bin";
		samsung,area = <1>;
		samsung,offset = <0x582000>;
	};
	/delete-node/ ext_bin@5;
	ext_bin_5: ext_bin@5 {
		status = "okay";
		samsung,name = "APBiBF_AUDIO_SLSI.bin";
		samsung,area = <1>;
		samsung,offset = <0x7EF000>;
	};
};

&hsi2c_3 {
	#address-cells = <1>;
	#size-cells = <0>;
	status = "okay";

	rt5510_amp: rt5510@34 {
		status = "okay";
		compatible = "richtek,rt5510";
		#sound-dai-cells = <1>;
		reg = <0x34>;
	};
};

&i2c_6 {
	#address-cells = <1>;
	#size-cells = <0>;
	status = "okay";
	rt5665: rt5665@1b {
		compatible = "realtek,rt5665";
		reg = <0x1b>;
		pinctrl-names = "default";
		pinctrl-0 = <&codec_irq>;
		interrupt-parent = <&gpa1>;
		interrupts = <2 0 0>;
		#sound-dai-cells = <1>;
		realtek,in1-differential;
		realtek,in3-differential;
		realtek,in4-differential;
		realtek,jd-src = <2>;
		realtek,dmic2-data-pin =<2>;
		realtek,sar-hs-type = <700>;
		realtek,sar-pb-vth0 = <95>;
		realtek,sar-pb-vth1 = <139>;
		realtek,sar-pb-vth2 = <246>;
		realtek,sar-pb-vth3 = <580>;
		imp_table = <
			/*min max gain bias*/
			0x0000 0x000d 3 6 // 8 ohm
			0x000e 0x0019 1 6 // 16 ohm
			0x001a 0x0035 0 6 // 32 ohm
			0x0036 0x0067 0 6 // 64 ohm
			0x0068 0xffff 0 6 // > 100 ohm
		>;

		/* not use offset-comp due to G715FN AMP on/off noise
		realtek,offset-comp = <0x0078 0x0090 0x00b0 0x00c0
					0x00f0 0x0110 0x0130 0x0180
					0x01e0 0x0200 0x02a0 0x0300
					0x03a0 0x0400 0x0500 0x0600>;
		realtek,offset-comp-r = <0x001a 0x001f 0x0020 0x002a
					0x0030 0x0040 0x0050 0x0060
					0x006f 0x007f 0x00a0 0x00b0
					0x00cf 0x0100 0x0120 0x0160>;
		*/
		realtek,regulator_1v8 = <&l42_reg>;
		realtek,regulator_3v3 = <&l40_reg>;

		realtek,rek-first-playback;

		/* water detect using external adc */
		realtek,use-external-adc;
		io-channels = <&exynos_adc 6>;
		io-channel-names = "adc-gdet";
		#io-channel-cells = <1>;
		io-channel-ranges;
	};
};
